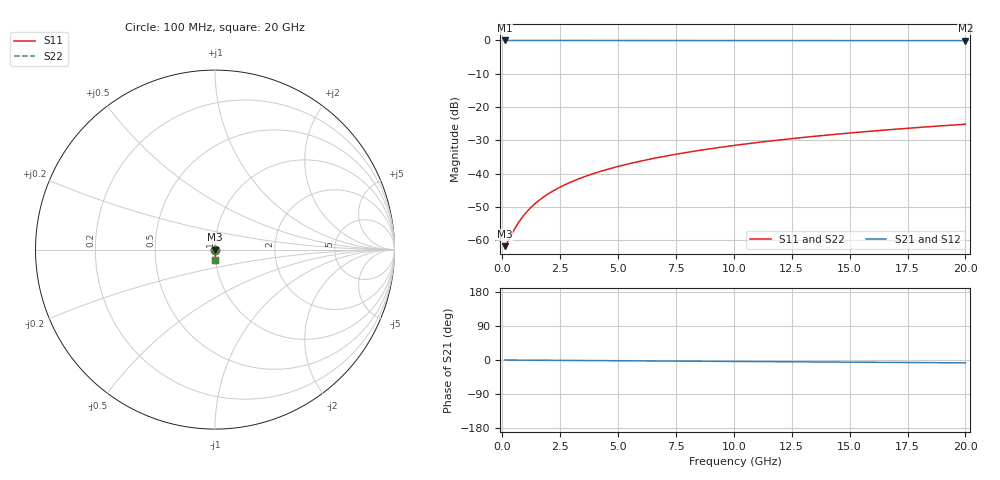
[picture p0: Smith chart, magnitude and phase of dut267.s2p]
! Touchstone file exported from HFSS 2026.1.0
!  File:  C:/ffzhzh/LocalFiles/Ansys_Project_Files/temp_train_BSMRDL_267_1782988884_6248.aedt
!  Generated:  06:42:28 PM Jul  2, 2026
!  Design:  BSMRDL
!  Project:  temp_train_BSMRDL_267_1782988884_6248
! Variables:
!  h_bsmrdl = 2.85um
!  h_ox = 20um
!  h_rdl = 5um
!  h_sub = 80um
!  h_tmrdl = 5um
!  h_tsv = 80um
!  h_via = 3um
!  l_bsmrdl = 108.57um
!  l_sub = 508.57um
!  l_tmrdl = 200um
!  m_sub = 200um
!  pitch = 30.83um
!  r_tsv = 6um
!  s_tmrdl = 10um
!  w_bsmrdl = 29.75um
!  w_sub = 500um
!  w_tmrdl = 12um
!  x_tsv_center1 = 206um
!  x_tsv_center2 = 344.32um
!  x_tsv_center3 = 556.32um
!  x_tsv_center4 = 694.64um
!  x_tsv_center5 = 906.64um
!  x_tsv_center6 = 1044.96um
# GHz S MA R 50.000000
! Terminal data exported
! Port[1] = BSM_RDL1_1_T1
! Port[2] = BSM_RDL1_1_T2
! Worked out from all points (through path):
!   200 points, 100 MHz to 20 GHz, reference 50 ohm
!   highest |S21| = -0.01 dB at 100 MHz (marker M1); lowest = -0.1 dB at 20 GHz (marker M2)
!   group delay of S21, straight-line fit = 1.04 ps
!   lowest |S11| = -61.8 dB at 100 MHz (marker M3), VSWR 1.00, Z = 50.1 - j0.00743 ohm
!   |S11| at or under -10 dB: start of sweep to end of sweep
!   |S22| runs from -61.8 to -25.2 dB; largest |S21 - S12| = 2.5e-15
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0.1  0.0008133 -5.2  0.9992 -0.0  0.9992 -0.0  0.0008133 -5.2
! Gamma 0 0 0 0
! Port Impedance 50 0 50 0
0.2  0.0009059 -11.2  0.9991 -0.1  0.9991 -0.1  0.0009059 -11.2
0.6  0.001619 -36.0  0.9987 -0.3  0.9987 -0.3  0.001619 -36.0
0.8  0.002065 -45.0  0.9985 -0.3  0.9985 -0.3  0.002065 -45.0
0.9  0.002296 -48.6  0.9985 -0.4  0.9985 -0.4  0.002296 -48.6
1.1  0.002771 -54.3  0.9984 -0.5  0.9984 -0.5  0.002771 -54.3
1.4  0.003502 -60.5  0.9982 -0.6  0.9982 -0.6  0.003503 -60.5
1.6  0.003999 -63.6  0.9982 -0.7  0.9982 -0.7  0.003999 -63.6
1.8  0.0045 -66.1  0.9981 -0.7  0.9981 -0.7  0.0045 -66.1
2.3  0.005768 -70.5  0.998 -0.9  0.998 -0.9  0.005768 -70.5
2.9  0.00731 -74.0  0.9978 -1.2  0.9978 -1.2  0.00731 -74.0
3.5  0.008867 -76.4  0.9977 -1.4  0.9977 -1.4  0.008867 -76.4
4.2  0.0107 -78.4  0.9975 -1.7  0.9975 -1.7  0.0107 -78.4
5  0.01281 -80.1  0.9973 -2.0  0.9973 -2.0  0.01281 -80.1
5.9  0.01521 -81.4  0.997 -2.3  0.997 -2.3  0.01521 -81.4
6.8  0.01763 -82.5  0.9967 -2.6  0.9967 -2.6  0.01763 -82.5
8.3  0.02173 -83.9  0.9962 -3.2  0.9962 -3.2  0.02173 -83.9
10.1  0.02674 -85.2  0.9956 -3.9  0.9956 -3.9  0.02674 -85.2
11.7  0.03125 -86.2  0.995 -4.5  0.995 -4.5  0.03125 -86.2
13.4  0.0361 -87.2  0.9944 -5.1  0.9944 -5.1  0.0361 -87.2
16.7  0.04562 -89.0  0.9931 -6.3  0.9931 -6.3  0.04562 -89.0
20  0.05522 -90.7  0.9919 -7.6  0.9919 -7.6  0.05522 -90.7
